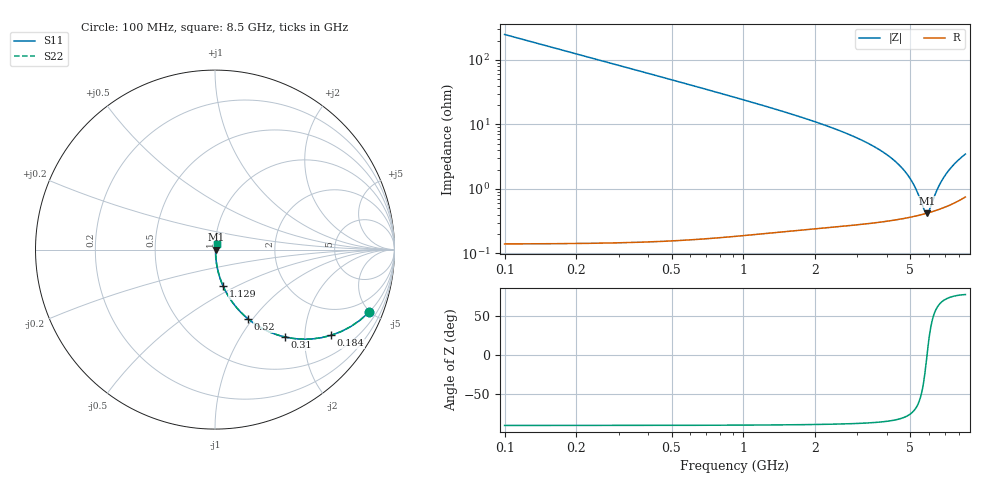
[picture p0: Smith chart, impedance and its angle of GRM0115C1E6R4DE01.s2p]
!Murata Part Number: GRM0115C1E6R4DE01
!These Parameters are Measured in Series Mode Connection
!Data Generated on Mar 30, 2021
!  o--ll--o
!Port1  Port2
!  o------o
!Operation Temp=25[degC], DC Bias Voltage=0[V]
!Freq. Start=100[MHz] Stop=9[GHz] 401[Steps]
# Hz S RI R 50
!Freq.(Hz) S11(Real) S11(Imag) S21(Real) S21(Imag) S12(Real) S12(Imag) S22(Real) S22(Imag)
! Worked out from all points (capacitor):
!   401 points, 100 MHz to 8.5 GHz, reference 50 ohm
!   read as one part in series: C = 6.4 pF near 142 MHz
!   lowest |Z| = 420 mohm at 5.854 GHz (marker M1)
!   series resonance near 5.871 GHz, so ESL is about 110 pH
!   S11 on the Smith chart (normalised r, x): 100 MHz: 1.00, -4.97; 184 MHz: 1.00, -2.70; 310 MHz: 1.00, -1.60; 520 MHz: 1.00, -0.95; 1.129 GHz: 1.00, -0.42; 8.5 GHz: 1.01, +0.07
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1e8  0.8606 -0.3461  0.1394 0.3461  0.1394 0.3461  0.8606 -0.3461
1.84e8  0.6456 -0.4778  0.3544 0.4778  0.3544 0.4778  0.6456 -0.4778
2.47e8  0.5024 -0.4993  0.4976 0.4993  0.4976 0.4993  0.5024 -0.4993
3.1e8  0.3903 -0.4869  0.6097 0.4869  0.6097 0.4869  0.3903 -0.4869
4.15e8  0.2626 -0.4388  0.7374 0.4388  0.7374 0.4388  0.2626 -0.4388
5.2e8  0.1844 -0.3861  0.8156 0.3861  0.8156 0.3861  0.1844 -0.3861
7.51e8  0.097 -0.2933  0.903 0.2933  0.903 0.2933  0.097 -0.2933
1.129e9  0.0446 -0.2019  0.9554 0.2019  0.9554 0.2019  0.0446 -0.2019
1.507e9  0.0252 -0.1497  0.9748 0.1497  0.9748 0.1497  0.0252 -0.1497
2.914e9  0.00684 -0.0638  0.9932 0.0638  0.9932 0.0638  0.00684 -0.0638
4.3e9  0.004 -0.0269  0.996 0.0269  0.996 0.0269  0.004 -0.0269
4.72e9  0.00383 -0.0187  0.9962 0.0187  0.9962 0.0187  0.00383 -0.0187
5.077e9  0.00383 -0.0124  0.9962 0.0124  0.9962 0.0124  0.00383 -0.0124
5.35e9  0.0039 -0.00796  0.9961 0.00796  0.9961 0.00796  0.0039 -0.00796
5.707e9  0.00407 -0.00243  0.9959 0.00243  0.9959 0.00243  0.00407 -0.00243
5.854e9  0.00417 -0.000248  0.9958 0.000248  0.9958 0.000248  0.00417 -0.000248
6.001e9  0.00429 0.00188  0.9957 -0.00188  0.9957 -0.00188  0.00429 0.00188
6.337e9  0.0046 0.0066  0.9954 -0.0066  0.9954 -0.0066  0.0046 0.0066
6.568e9  0.00486 0.00972  0.9951 -0.00972  0.9951 -0.00972  0.00486 0.00972
7.114e9  0.00562 0.0168  0.9944 -0.0168  0.9944 -0.0168  0.00562 0.0168
7.744e9  0.00676 0.0245  0.9932 -0.0245  0.9932 -0.0245  0.00676 0.0245
8.5e9  0.00856 0.0334  0.9914 -0.0334  0.9914 -0.0334  0.00856 0.0334
